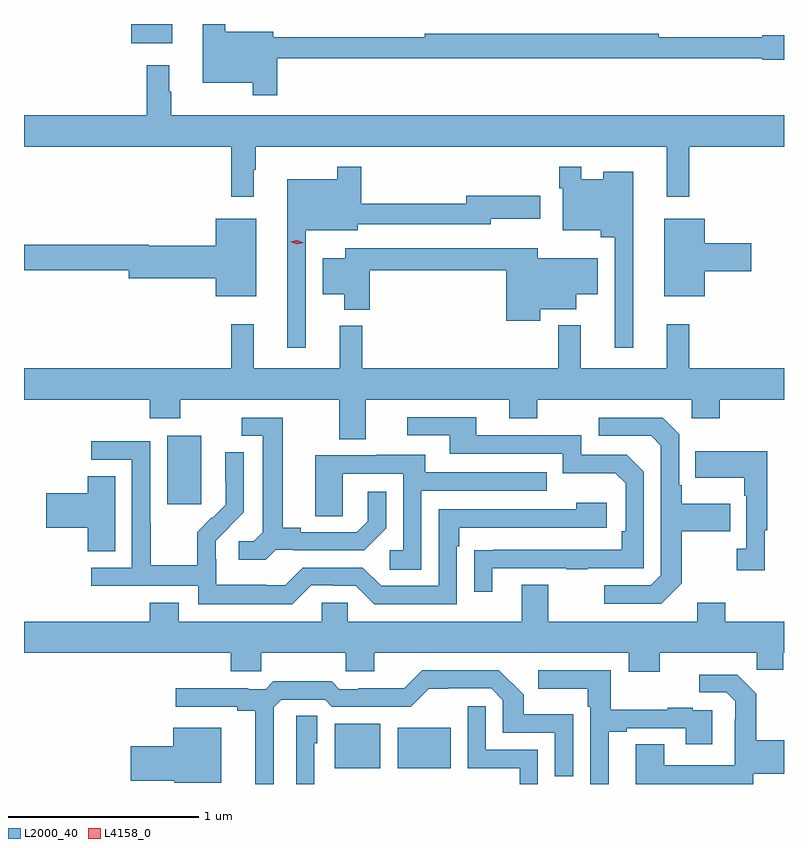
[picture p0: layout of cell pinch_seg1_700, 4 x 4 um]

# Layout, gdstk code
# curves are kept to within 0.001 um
import gdstk
lib = gdstk.Library(unit=1e-6, precision=1e-09)
def R(c, l, rs):  # rectangles x0, y0, x1, y1
    for r in rs: c.add(gdstk.rectangle(r[:2], r[2:], *l))
def P(c, l, *ps):  # polygons
    for p in ps: c.add(gdstk.Polygon(p, *l))
L2000_40 = (2000, 40)
L4158_0 = (4158, 0)

pinch_seg1_700 = lib.new_cell('pinch_seg1_700')
R(pinch_seg1_700, L2000_40, [(743.405,575.099,743.644,575.335), (743.738,575.099,744.016,575.314), (742.523,576.489,742.702,576.85), (742.334,578.915,742.549,579.017)])
P(pinch_seg1_700, L2000_40, [(743.102,578.838),(745.656,578.838),(745.656,578.83),(745.77,578.83),(745.77,578.959),(745.656,578.959),(745.656,578.946),(745.112,578.946),(745.112,578.966),(743.879,578.966),(743.879,578.948),(743.083,578.948),(743.083,578.977),(742.829,578.977),(742.829,579.017),(742.712,579.017),(742.712,578.708),(742.974,578.708),(742.974,578.643),(743.102,578.643)],
  [(742.978,578.249),(742.99,578.249),(742.99,578.372),(745.154,578.372),(745.154,578.109),(745.271,578.109),(745.271,578.372),(745.77,578.372),(745.77,578.536),(742.546,578.536),(742.546,578.66),(742.534,578.66),(742.534,578.8),(742.417,578.8),(742.417,578.536),(741.77,578.536),(741.77,578.372),(742.861,578.372),(742.861,578.109),(742.978,578.109)],
  [(744.976,578.239),(744.818,578.239),(744.818,578.2),(744.702,578.2),(744.702,578.266),(744.586,578.266),(744.586,578.153),(744.606,578.153),(744.606,577.931),(744.806,577.931),(744.806,577.895),(744.879,577.895),(744.879,577.314),(744.976,577.314)],
  [(743.253,577.931),(743.527,577.931),(743.527,577.962),(744.226,577.962),(744.226,577.991),(744.487,577.991),(744.487,578.113),(744.098,578.113),(744.098,578.071),(743.546,578.071),(743.546,578.266),(743.418,578.266),(743.418,578.2),(743.156,578.2),(743.156,577.314),(743.253,577.314)],
  [(745.354,577.715),(745.597,577.715),(745.597,577.862),(745.354,577.862),(745.354,577.993),(745.139,577.993),(745.139,577.583),(745.354,577.583)],
  [(742.993,577.993),(742.778,577.993),(742.778,577.85),(742.426,577.85),(742.426,577.856),(741.77,577.856),(741.77,577.72),(742.322,577.72),(742.322,577.678),(742.778,577.678),(742.778,577.583),(742.993,577.583)],
  [(744.486,577.517),(744.676,577.517),(744.676,577.595),(744.79,577.595),(744.79,577.783),(744.474,577.783),(744.474,577.836),(743.462,577.836),(743.462,577.783),(743.342,577.783),(743.342,577.595),(743.456,577.595),(743.456,577.514),(743.591,577.514),(743.591,577.72),(744.308,577.72),(744.308,577.455),(744.486,577.455)],
  [(743.569,577.04),(744.323,577.04),(744.323,576.941),(744.471,576.941),(744.471,577.04),(745.284,577.04),(745.284,576.941),(745.431,576.941),(745.431,577.04),(745.77,577.04),(745.77,577.204),(745.271,577.204),(745.271,577.438),(745.154,577.438),(745.154,577.204),(744.701,577.204),(744.701,577.432),(744.583,577.432),(744.583,577.204),(743.549,577.204),(743.549,577.429),(743.432,577.429),(743.432,577.204),(742.979,577.204),(742.979,577.438),(742.861,577.438),(742.861,577.204),(741.77,577.204),(741.77,577.04),(742.433,577.04),(742.433,576.941),(742.593,576.941),(742.593,577.04),(743.429,577.04),(743.429,576.832),(743.569,576.832)],
  [(744.235,576.153),(744.625,576.153),(744.625,576.148),(744.737,576.148),(744.737,576.153),(745.032,576.153),(745.032,576.66),(744.942,576.75),(744.702,576.75),(744.702,576.852),(744.151,576.852),(744.151,576.948),(743.787,576.948),(743.787,576.852),(744.011,576.852),(744.011,576.756),(744.606,576.756),(744.606,576.653),(744.883,576.653),(744.936,576.6),(744.936,576.346),(744.916,576.346),(744.916,576.249),(744.139,576.248),(744.139,576.03),(744.235,576.03)],
  [(745.231,576.073),(745.231,576.346),(745.487,576.346),(745.487,576.493),(745.231,576.493),(745.231,576.589),(745.218,576.589),(745.218,576.858),(745.131,576.945),(744.795,576.945),(744.795,576.849),(745.071,576.849),(745.122,576.798),(745.122,576.117),(745.068,576.063),(744.825,576.063),(744.825,575.967),(745.125,575.967)],
  [(743.094,576.249),(743.188,576.249),(743.188,576.246),(743.56,576.246),(743.676,576.362),(743.676,576.556),(743.579,576.556),(743.579,576.399),(743.522,576.342),(743.227,576.342),(743.227,576.365),(743.131,576.365),(743.131,576.945),(742.917,576.945),(742.917,576.849),(743.027,576.849),(743.027,576.341),(742.98,576.294),(742.899,576.294),(742.899,576.197),(743.042,576.197)],
  [(743.283,576.063),(743.399,576.063),(743.399,576.06),(743.517,576.06),(743.613,575.964),(744.048,575.964),(744.048,576.269),(744.061,576.269),(744.061,576.366),(744.838,576.366),(744.838,576.496),(744.677,576.496),(744.677,576.462),(743.952,576.462),(743.952,576.06),(743.649,576.06),(743.553,576.156),(743.238,576.156),(743.145,576.063),(743.045,576.063),(743.045,576.067),(742.782,576.067),(742.782,576.201),(742.78,576.201),(742.78,576.298),(742.926,576.446),(742.926,576.764),(742.83,576.764),(742.83,576.61),(742.832,576.61),(742.832,576.488),(742.761,576.417),(742.758,576.42),(742.681,576.343),(742.681,576.169),(742.437,576.169),(742.437,576.392),(742.434,576.392),(742.434,576.822),(742.125,576.822),(742.125,576.723),(742.338,576.723),(742.338,576.156),(742.125,576.156),(742.125,576.06),(742.686,576.06),(742.686,575.963),(743.183,575.963)],
  [(745.669,576.353),(745.681,576.353),(745.681,576.769),(745.303,576.769),(745.303,576.629),(745.56,576.629),(745.56,576.533),(745.572,576.533),(745.572,576.254),(745.521,576.254),(745.521,576.141),(745.669,576.141)],
  [(743.862,576.561),(744.521,576.561),(744.521,576.657),(743.881,576.657),(743.881,576.751),(743.627,576.751),(743.627,576.747),(743.303,576.747),(743.303,576.427),(743.448,576.427),(743.448,576.651),(743.766,576.651),(743.766,576.246),(743.694,576.246),(743.694,576.145),(743.862,576.145)],
  [(742.249,576.638),(742.106,576.638),(742.106,576.548),(741.888,576.548),(741.888,576.365),(742.106,576.365),(742.106,576.241),(742.249,576.241)],
  [(745.117,575.708),(745.627,575.708),(745.627,575.618),(745.765,575.618),(745.765,575.708),(745.77,575.708),(745.77,575.872),(745.461,575.872),(745.461,575.971),(745.313,575.971),(745.313,575.872),(744.529,575.872),(744.529,576.067),(744.389,576.067),(744.389,575.872),(743.475,575.872),(743.475,575.97),(743.337,575.97),(743.337,575.872),(742.585,575.872),(742.585,575.971),(742.433,575.971),(742.433,575.872),(741.77,575.872),(741.77,575.708),(742.859,575.708),(742.859,575.61),(743.019,575.61),(743.019,575.708),(743.464,575.708),(743.464,575.61),(743.614,575.61),(743.614,575.708),(744.953,575.708),(744.953,575.609),(745.117,575.609)],
  [(743.085,575.421),(743.124,575.46),(743.355,575.46),(743.391,575.424),(743.805,575.424),(743.9,575.519),(744.228,575.52),(744.291,575.457),(744.291,575.286),(744.564,575.286),(744.564,575.058),(744.66,575.058),(744.66,575.383),(744.399,575.383),(744.399,575.486),(744.268,575.616),(743.865,575.616),(743.771,575.522),(743.53,575.522),(743.53,575.517),(743.43,575.517),(743.391,575.557),(743.083,575.557),(743.043,575.517),(742.949,575.517),(742.949,575.522),(742.569,575.522),(742.569,575.424),(742.892,575.424),(742.892,575.402),(742.988,575.402),(742.988,575.017),(743.085,575.017)],
  [(744.847,575.292),(744.943,575.292),(744.943,575.31),(745.253,575.31),(745.253,575.226),(745.393,575.226),(745.393,575.406),(745.289,575.406),(745.289,575.419),(745.157,575.419),(745.157,575.408),(744.859,575.408),(744.859,575.616),(744.477,575.616),(744.477,575.519),(744.738,575.519),(744.738,575.423),(744.75,575.423),(744.75,575.017),(744.847,575.017)],
  [(745.608,575.072),(745.77,575.072),(745.77,575.248),(745.623,575.248),(745.623,575.493),(745.523,575.593),(745.323,575.593),(745.323,575.499),(745.467,575.499),(745.514,575.452),(745.514,575.357),(745.512,575.357),(745.512,575.116),(745.141,575.116),(745.141,575.225),(744.989,575.225),(744.989,575.017),(745.608,575.017)],
  [(744.474,575.196),(744.201,575.196),(744.201,575.425),(744.105,575.425),(744.105,575.1),(744.378,575.1),(744.378,575.017),(744.474,575.017)],
  [(743.298,575.232),(743.314,575.232),(743.314,575.375),(743.202,575.375),(743.202,575.017),(743.298,575.017)],
  [(742.807,575.314),(742.556,575.314),(742.556,575.216),(742.332,575.216),(742.332,575.033),(742.56,575.033),(742.56,575.024),(742.807,575.024)])
P(pinch_seg1_700, L4158_0, [(743.207,577.859),(743.172,577.87),(743.171,577.871),(743.172,577.871),(743.207,577.879),(743.243,577.867),(743.243,577.867),(743.243,577.867)])

lib.write_gds('pinch_seg1_700.gds')
